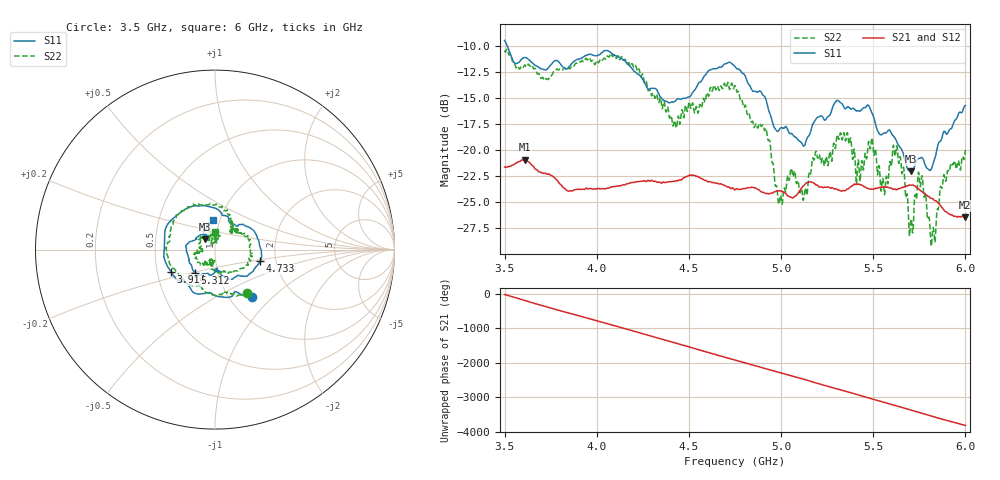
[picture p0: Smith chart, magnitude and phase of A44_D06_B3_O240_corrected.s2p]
! Created with skrf 1.9.0 (http://scikit-rf.org).
# Hz S RI R 50.0
!freq ReS11 ImS11 ReS21 ImS21 ReS12 ImS12 ReS22 ImS22
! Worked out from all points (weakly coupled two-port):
!   1601 points, 3.5 GHz to 6 GHz, reference 50 ohm
!   highest |S21| = -20.93 dB at 3.609 GHz (marker M1); lowest = -26.4 dB at 5.997 GHz (marker M2)
!   lowest |S11| = -22.0 dB at 5.706 GHz (marker M3), VSWR 1.17, Z = 44.6 + j5.22 ohm
!   |S11| at or under -10 dB: 3.514 GHz to end of sweep
!   |S22| runs from -29.2 to -10.4 dB; largest |S21 - S12| = 0.00099
!   S11 on the Smith chart (normalised r, x): 3.5 GHz: 1.27, -0.75; 3.914 GHz: 0.59, -0.16; 4.733 GHz: 1.65, -0.23; 5.312 GHz: 0.78, -0.21; 6 GHz: 0.93, +0.31
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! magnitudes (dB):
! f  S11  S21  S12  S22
! 3.5 GHz  -9.5  -21.6  -21.6  -10.5
! 3.609 GHz  -11.2  -20.9  -20.9  -11.9
! 3.914 GHz  -11.2  -23.8  -23.7  -11.5
! 3.917 GHz  -11.2  -23.8  -23.7  -11.5
! 4.144 GHz  -11.3  -23.3  -23.3  -11.4
! 4.334 GHz  -14.6  -23.1  -23.0  -15.4
! 4.423 GHz  -15.4  -23.0  -22.9  -17.2
! 4.733 GHz  -11.7  -23.7  -23.6  -13.6
! 4.75 GHz  -12.0  -23.8  -23.7  -13.8
! 4.927 GHz  -15.7  -24.2  -24.1  -18.8
! 4.995 GHz  -17.9  -23.9  -23.8  -24.4
! 5.167 GHz  -17.8  -23.1  -23.0  -21.2
! 5.312 GHz  -15.3  -23.8  -23.8  -19.0
! 5.419 GHz  -16.2  -23.3  -23.3  -20.9
! 5.584 GHz  -18.1  -23.6  -23.5  -22.2
! 5.638 GHz  -19.5  -23.7  -23.6  -21.2
! 5.706 GHz  -22.0  -23.4  -23.3  -26.6
! 5.755 GHz  -20.8  -23.9  -23.8  -23.5
! 5.825 GHz  -21.3  -24.7  -24.6  -27.5
! 5.875 GHz  -18.6  -25.5  -25.5  -23.4
! 5.997 GHz  -15.8  -26.4  -26.3  -20.4
! 6 GHz  -15.8  -26.4  -26.3  -20.0
